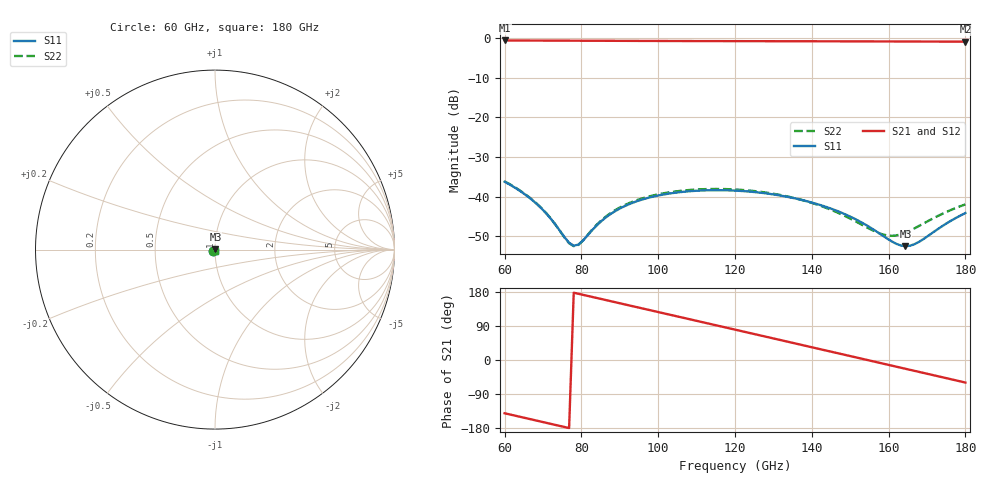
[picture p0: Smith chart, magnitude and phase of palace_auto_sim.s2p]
#  GHZ S DB R 50
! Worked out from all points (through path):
!   101 points, 60 GHz to 180 GHz, reference 50 ohm
!   highest |S21| = -0.58 dB at 60 GHz (marker M1); lowest = -0.9 dB at 180 GHz (marker M2)
!   group delay of S21, straight-line fit = 6.45 ps
!   lowest |S11| = -52.4 dB at 164.4 GHz (marker M3), VSWR 1.00, Z = 50.2 + j0.0637 ohm
!   |S11| at or under -10 dB: start of sweep to end of sweep
!   |S22| runs from -52.4 to -36.1 dB; largest |S21 - S12| = 1.6e-14
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60  -36.20 -145.5  -0.58 -140.5  -0.58 -140.5  -36.11 -145.4
64.8  -39.04 -161.9  -0.59 -151.7  -0.59 -151.7  -38.95 -161.7
69.6  -42.93 177.9  -0.61 -162.9  -0.61 -162.9  -42.85 178.3
76.8  -51.59 111.7  -0.63 -179.6  -0.63 -179.6  -51.71 111.6
78  -52.32 89.5  -0.63 177.6  -0.63 177.6  -52.45 88.7
79.2  -52.07 67.0  -0.64 174.8  -0.64 174.8  -52.13 65.5
80.4  -51.05 47.7  -0.64 172.0  -0.64 172.0  -51.02 46.1
85.2  -46.13 4.3  -0.66 160.9  -0.66 160.9  -45.92 3.2
88.8  -43.61 -13.4  -0.67 152.5  -0.67 152.5  -43.36 -14.2
94.8  -41.00 -35.7  -0.69 138.6  -0.69 138.6  -40.72 -36.2
100.8  -39.52 -55.0  -0.71 124.7  -0.71 124.7  -39.22 -55.2
110.4  -38.45 -84.3  -0.73 102.4  -0.73 102.4  -38.14 -84.2
120  -38.44 -114.6  -0.75 80.2  -0.75 80.2  -38.15 -114.2
129.6  -39.34 -147.1  -0.76 57.8  -0.76 57.8  -39.16 -146.5
140.4  -41.56 172.5  -0.78 32.7  -0.78 32.7  -41.66 172.3
146.4  -43.49 147.3  -0.80 18.8  -0.80 18.8  -43.85 145.2
151.2  -45.56 124.4  -0.81 7.6  -0.81 7.6  -46.09 118.6
157.2  -48.97 88.0  -0.82 -6.4  -0.82 -6.4  -49.05 72.8
160.8  -51.23 56.9  -0.83 -14.8  -0.83 -14.8  -49.84 36.5
164.4  -52.45 15.4  -0.84 -23.2  -0.84 -23.2  -49.05 0.1
168  -51.32 -26.9  -0.85 -31.6  -0.85 -31.6  -47.31 -29.8
180  -44.10 -107.9  -0.88 -59.5  -0.88 -59.5  -41.91 -95.6
